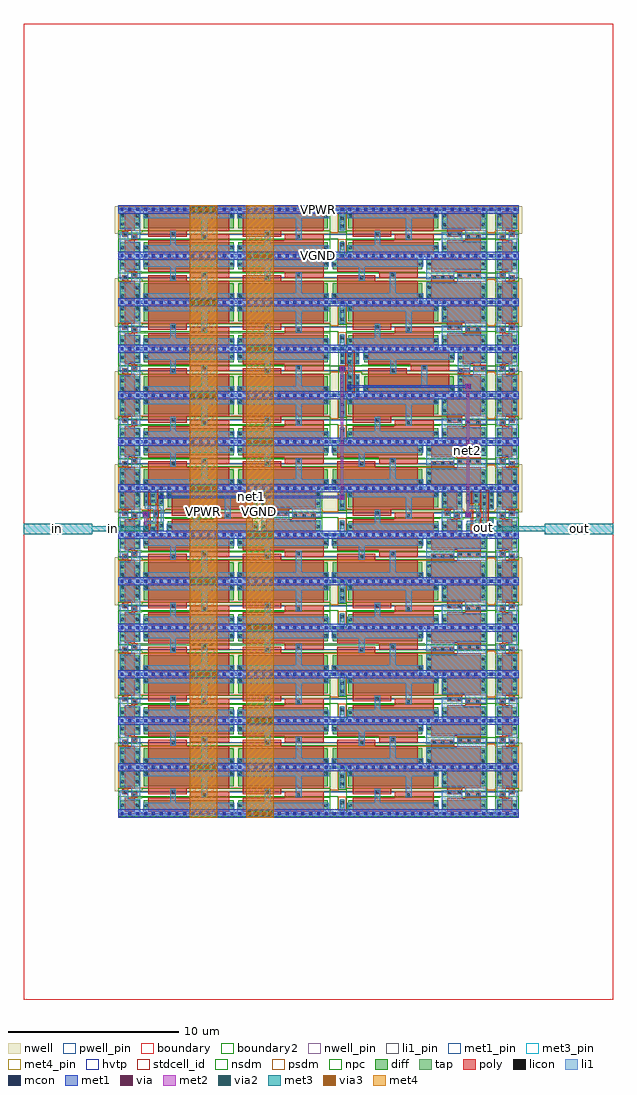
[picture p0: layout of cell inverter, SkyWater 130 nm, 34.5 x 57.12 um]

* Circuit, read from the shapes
.subckt inverter VGND VPWR in net1 net2 out
XM1 VGND VPWR VGND VGND sky130_fd_pr__nfet_01v8 w=0.55 l=0.59 m=27
XM2 VGND VPWR VGND VGND sky130_fd_pr__nfet_01v8 w=0.55 l=4.73 m=38
XM3 VGND in n1 VGND sky130_fd_pr__nfet_01v8 w=0.52 l=0.15
XM4 net1 n1 VGND VGND sky130_fd_pr__nfet_01v8 w=0.52 l=0.15
XM5 VGND VPWR VGND VGND sky130_fd_pr__nfet_01v8 w=0.55 l=2.89 m=6
XM6 net2 net1 VGND VGND sky130_fd_pr__nfet_01v8 w=0.65 l=0.15 m=2
XM7 VGND VPWR VGND VGND sky130_fd_pr__nfet_01v8 w=0.55 l=1.97 m=6
XM8 VGND VPWR VGND VGND sky130_fd_pr__nfet_01v8 w=0.55 l=1.05
XM9 VGND net2 n2 VGND sky130_fd_pr__nfet_01v8 w=0.42 l=0.15
XM10 out n2 VGND VGND sky130_fd_pr__nfet_01v8 w=0.65 l=0.15 m=2
XM11 VPWR VGND VPWR VPWR sky130_fd_pr__pfet_01v8_hvt w=0.87 l=0.59 m=27
XM12 VPWR VGND VPWR VPWR sky130_fd_pr__pfet_01v8_hvt w=0.87 l=4.73 m=38
XM13 VPWR in n1 VPWR sky130_fd_pr__pfet_01v8_hvt w=0.79 l=0.15
XM14 net1 n1 VPWR VPWR sky130_fd_pr__pfet_01v8_hvt w=0.79 l=0.15
XM15 VPWR VGND VPWR VPWR sky130_fd_pr__pfet_01v8_hvt w=0.87 l=2.89 m=6
XM16 net2 net1 VPWR VPWR sky130_fd_pr__pfet_01v8_hvt w=1 l=0.15 m=2
XM17 VPWR VGND VPWR VPWR sky130_fd_pr__pfet_01v8_hvt w=0.87 l=1.97 m=6
XM18 VPWR VGND VPWR VPWR sky130_fd_pr__pfet_01v8_hvt w=0.87 l=1.05
XM19 VPWR net2 n2 VPWR sky130_fd_pr__pfet_01v8_hvt w=0.64 l=0.15
XM20 out n2 VPWR VPWR sky130_fd_pr__pfet_01v8_hvt w=1 l=0.15 m=2
.ends

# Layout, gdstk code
from math import pi, radians
import gdstk
lib = gdstk.Library(unit=1e-6, precision=1e-09)
def R(c, l, rs):  # rectangles x0, y0, x1, y1
    for r in rs: c.add(gdstk.rectangle(r[:2], r[2:], *l))
def A(c, l, x, y, w, h, nx, ny, dx, dy):  # array of equal rectangles
    R(c, l, [(x+i*dx, y+j*dy, x+i*dx+w, y+j*dy+h) for i in range(nx) for j in range(ny)])
def P(c, l, *ps):  # polygons
    for p in ps: c.add(gdstk.Polygon(p, *l))
nwell_pin = (64, 16)
nwell = (64, 20)
diff = (65, 20)
tap = (65, 44)
poly = (66, 20)
licon = (66, 44)
li1_pin = (67, 16)
li1 = (67, 20)
mcon = (67, 44)
met1_pin = (68, 16)
met1 = (68, 20)
via = (68, 44)
met2 = (69, 20)
via2 = (69, 44)
met3_pin = (70, 16)
met3 = (70, 20)
via3 = (70, 44)
met4_pin = (71, 16)
met4 = (71, 20)
hvtp = (78, 44)
stdcell_id = (81, 4)
nsdm = (93, 44)
psdm = (94, 20)
npc = (95, 20)
pwell_pin = (122, 16)
boundary = (235, 4)
boundary2 = (236, 0)

sky130_ef_sc_hd__decap_1 = lib.new_cell('sky130_ef_sc_hd__decap_12')
R(sky130_ef_sc_hd__decap_1, nwell_pin, [(0.145,2.635,0.315,2.805)])
R(sky130_ef_sc_hd__decap_1, nwell, [(-0.19,1.305,5.71,2.91)])
R(sky130_ef_sc_hd__decap_1, diff, [(0.135,0.235,5.385,0.785), (0.135,1.615,5.385,2.485)])
P(sky130_ef_sc_hd__decap_1, poly, [(5.125,2.615),(0.395,2.615),(0.395,1.125),(2.645,1.125),(2.645,1.485),(5.125,1.485)],
  [(5.125,1.275),(2.855,1.275),(2.855,0.915),(0.395,0.915),(0.395,0.105),(5.125,0.105)])
R(sky130_ef_sc_hd__decap_1, licon, [(0.175,0.39,0.345,0.56), (5.175,0.39,5.345,0.56), (3.575,1.025,3.745,1.195), (1.755,1.205,1.925,1.375), (0.175,2.255,0.345,2.425), (5.175,2.255,5.345,2.425)])
R(sky130_ef_sc_hd__decap_1, li1, [(0,-0.085,5.52,0.085), (0.085,0.085,5.43,0.63), (1.67,0.63,2.01,1.46), (3.49,0.95,3.84,2.2), (0.085,2.2,5.43,2.635), (0,2.635,5.52,2.805)])
A(sky130_ef_sc_hd__decap_1, mcon, 0.145, -0.085, 0.17, 0.17, 12, 2, 0.46, 2.72)
R(sky130_ef_sc_hd__decap_1, met1_pin, [(0.145,-0.085,0.315,0.085), (0.145,2.635,0.315,2.805)])
R(sky130_ef_sc_hd__decap_1, hvtp, [(0,1.25,5.52,2.72)])
R(sky130_ef_sc_hd__decap_1, stdcell_id, [(0,0,5.52,2.72)])
R(sky130_ef_sc_hd__decap_1, nsdm, [(0,-0.19,5.52,1.015)])
R(sky130_ef_sc_hd__decap_1, psdm, [(0,1.485,5.52,2.91)])
R(sky130_ef_sc_hd__decap_1, npc, [(0,0.925,5.52,1.475)])
R(sky130_ef_sc_hd__decap_1, pwell_pin, [(0.145,-0.085,0.315,0.085)])
R(sky130_ef_sc_hd__decap_1, boundary2, [(0,0,5.52,2.72)])
sky130_ef_sc_hd__decap_1.add(gdstk.FlexPath([(0,2.72),(5.52,2.72)], 0.48, ends="flush", simple_path=True, layer=68, datatype=20))  # met1
sky130_ef_sc_hd__decap_1.add(gdstk.FlexPath([(0,0),(5.52,0)], 0.48, ends="flush", simple_path=True, layer=68, datatype=20))  # met1
sky130_ef_sc_hd__decap_1.add(gdstk.Label('VGND', (0.23,0), layer=68, texttype=5))
sky130_ef_sc_hd__decap_1.add(gdstk.Label('VPWR', (0.23,2.72), layer=68, texttype=5))
sky130_ef_sc_hd__decap_1.add(gdstk.Label('VPB', (0.23,2.72), layer=64, texttype=5))
sky130_ef_sc_hd__decap_1.add(gdstk.Label('VNB', (0.23,0), layer=64, texttype=59))
sky130_ef_sc_hd__decap_1.add(gdstk.Label('decap_12', (0,0), layer=83, texttype=44))

sky130_fd_sc_hd__decap_3 = lib.new_cell('sky130_fd_sc_hd__decap_3')
R(sky130_fd_sc_hd__decap_3, nwell_pin, [(0.145,2.635,0.315,2.805)])
R(sky130_fd_sc_hd__decap_3, nwell, [(-0.19,1.305,1.57,2.91)])
R(sky130_fd_sc_hd__decap_3, diff, [(0.135,0.235,1.245,0.785), (0.135,1.615,1.245,2.485)])
P(sky130_fd_sc_hd__decap_3, poly, [(1.125,1.255),(0.795,1.255),(0.795,0.915),(0.395,0.915),(0.395,0.105),(0.985,0.105),(0.985,0.925),(1.125,0.925)],
  [(0.985,2.615),(0.395,2.615),(0.395,1.455),(0.255,1.455),(0.255,1.125),(0.585,1.125),(0.585,1.465),(0.985,1.465)])
R(sky130_fd_sc_hd__decap_3, licon, [(0.175,0.4,0.345,0.57), (1.035,0.4,1.205,0.57), (0.875,1.005,1.045,1.175), (0.335,1.205,0.505,1.375), (0.175,1.78,0.345,1.95), (1.035,1.78,1.205,1.95), (0.175,2.255,0.345,2.425), (1.035,2.255,1.205,2.425)])
P(sky130_fd_sc_hd__decap_3, li1, [(1.38,2.805),(0,2.805),(0,2.635),(0.085,2.635),(0.085,1.545),(0.775,1.545),(0.775,1.005),(1.295,1.005),(1.295,2.635),(1.38,2.635)],
  [(1.38,0.085),(1.295,0.085),(1.295,0.835),(0.605,0.835),(0.605,1.375),(0.085,1.375),(0.085,0.085),(0,0.085),(0,-0.085),(1.38,-0.085)])
A(sky130_fd_sc_hd__decap_3, mcon, 0.145, -0.085, 0.17, 0.17, 3, 2, 0.46, 2.72)
R(sky130_fd_sc_hd__decap_3, met1_pin, [(0.145,-0.085,0.315,0.085), (0.145,2.635,0.315,2.805)])
R(sky130_fd_sc_hd__decap_3, hvtp, [(0,1.25,1.38,2.72)])
R(sky130_fd_sc_hd__decap_3, stdcell_id, [(0,0,1.38,2.72)])
R(sky130_fd_sc_hd__decap_3, nsdm, [(0,-0.19,1.38,1.015)])
R(sky130_fd_sc_hd__decap_3, psdm, [(0,1.485,1.38,2.91)])
P(sky130_fd_sc_hd__decap_3, npc, [(1.38,1.345),(0.605,1.345),(0.605,1.475),(0,1.475),(0,0.975),(0.775,0.975),(0.775,0.905),(1.38,0.905)])
R(sky130_fd_sc_hd__decap_3, pwell_pin, [(0.145,-0.085,0.315,0.085)])
R(sky130_fd_sc_hd__decap_3, boundary2, [(0,0,1.38,2.72)])
sky130_fd_sc_hd__decap_3.add(gdstk.FlexPath([(0,2.72),(1.38,2.72)], 0.48, ends="flush", simple_path=True, layer=68, datatype=20))  # met1
sky130_fd_sc_hd__decap_3.add(gdstk.FlexPath([(0,0),(1.38,0)], 0.48, ends="flush", simple_path=True, layer=68, datatype=20))  # met1
sky130_fd_sc_hd__decap_3.add(gdstk.Label('VPWR', (0.23,2.72), layer=68, texttype=5))
sky130_fd_sc_hd__decap_3.add(gdstk.Label('VGND', (0.23,0), layer=68, texttype=5))
sky130_fd_sc_hd__decap_3.add(gdstk.Label('VPB', (0.23,2.72), layer=64, texttype=5))
sky130_fd_sc_hd__decap_3.add(gdstk.Label('VNB', (0.23,0), layer=64, texttype=59))
sky130_fd_sc_hd__decap_3.add(gdstk.Label('decap_3', (0,0), layer=83, texttype=44))

sky130_fd_sc_hd__fill_1 = lib.new_cell('sky130_fd_sc_hd__fill_1')
R(sky130_fd_sc_hd__fill_1, nwell_pin, [(0.155,2.67,0.255,2.755)])
R(sky130_fd_sc_hd__fill_1, nwell, [(-0.19,1.305,0.65,2.91)])
R(sky130_fd_sc_hd__fill_1, mcon, [(0.145,-0.085,0.315,0.085), (0.145,2.635,0.315,2.805)])
R(sky130_fd_sc_hd__fill_1, met1_pin, [(0.11,-0.065,0.29,0.08), (0.11,2.635,0.29,2.785)])
R(sky130_fd_sc_hd__fill_1, hvtp, [(0,1.25,0.46,2.72)])
R(sky130_fd_sc_hd__fill_1, stdcell_id, [(0,0,0.46,2.72)])
R(sky130_fd_sc_hd__fill_1, nsdm, [(0,-0.19,0.46,1.015)])
R(sky130_fd_sc_hd__fill_1, psdm, [(0,1.355,0.46,2.91)])
R(sky130_fd_sc_hd__fill_1, pwell_pin, [(0.14,-0.055,0.26,0.055)])
sky130_fd_sc_hd__fill_1.add(gdstk.FlexPath([(0,0),(0.46,0)], 0.17, ends="flush", simple_path=True, layer=67, datatype=20))  # li1
sky130_fd_sc_hd__fill_1.add(gdstk.FlexPath([(0,2.72),(0.46,2.72)], 0.17, ends="flush", simple_path=True, layer=67, datatype=20))  # li1
sky130_fd_sc_hd__fill_1.add(gdstk.FlexPath([(0,2.72),(0.46,2.72)], 0.48, ends="flush", simple_path=True, layer=68, datatype=20))  # met1
sky130_fd_sc_hd__fill_1.add(gdstk.FlexPath([(0,0),(0.46,0)], 0.48, ends="flush", simple_path=True, layer=68, datatype=20))  # met1
sky130_fd_sc_hd__fill_1.add(gdstk.Label('VPWR', (0.205,2.72), layer=68, texttype=5))
sky130_fd_sc_hd__fill_1.add(gdstk.Label('VGND', (0.205,0), layer=68, texttype=5))
sky130_fd_sc_hd__fill_1.add(gdstk.Label('VPB', (0.23,2.72), layer=64, texttype=5))
sky130_fd_sc_hd__fill_1.add(gdstk.Label('VNB', (0.23,0), layer=64, texttype=59))
sky130_fd_sc_hd__fill_1.add(gdstk.Label('fill_1', (0,0), layer=83, texttype=44))

sky130_fd_sc_hd__tapvpwr = lib.new_cell('sky130_fd_sc_hd__tapvpwrvgnd_1')
R(sky130_fd_sc_hd__tapvpwr, nwell, [(-0.19,1.305,0.65,2.91)])
R(sky130_fd_sc_hd__tapvpwr, tap, [(0.145,0.32,0.315,0.845), (0.145,1.525,0.315,2.4)])
R(sky130_fd_sc_hd__tapvpwr, licon, [(0.145,0.555,0.315,0.725), (0.145,1.645,0.315,1.815), (0.145,2.11,0.315,2.28)])
R(sky130_fd_sc_hd__tapvpwr, li1, [(0,-0.085,0.46,0.085), (0.085,0,0.375,0.81), (0.085,1.47,0.375,2.72), (0,2.635,0.46,2.805)])
R(sky130_fd_sc_hd__tapvpwr, mcon, [(0.145,-0.085,0.315,0.085), (0.145,2.635,0.315,2.805)])
R(sky130_fd_sc_hd__tapvpwr, met1_pin, [(0.105,-0.09,0.36,0.1), (0.11,2.62,0.375,2.765)])
R(sky130_fd_sc_hd__tapvpwr, met1, [(0,-0.24,0.46,0.24), (0,2.48,0.46,2.96)])
R(sky130_fd_sc_hd__tapvpwr, hvtp, [(0,1.25,0.46,2.72)])
R(sky130_fd_sc_hd__tapvpwr, stdcell_id, [(0,0,0.46,2.72)])
R(sky130_fd_sc_hd__tapvpwr, nsdm, [(0,-0.19,0.46,0.19), (0,1.395,0.46,2.53)])
R(sky130_fd_sc_hd__tapvpwr, psdm, [(0,0.19,0.46,0.975), (0,2.53,0.46,2.91)])
sky130_fd_sc_hd__tapvpwr.add(gdstk.Label('VPWR', (0.23,2.72), layer=68, texttype=5))
sky130_fd_sc_hd__tapvpwr.add(gdstk.Label('VGND', (0.23,0), layer=68, texttype=5))
sky130_fd_sc_hd__tapvpwr.add(gdstk.Label('tapvpwrvgnd_1', (0,0), layer=83, texttype=44))

sky130_fd_sc_hd__decap_6 = lib.new_cell('sky130_fd_sc_hd__decap_6')
R(sky130_fd_sc_hd__decap_6, nwell_pin, [(0.145,2.635,0.315,2.805)])
R(sky130_fd_sc_hd__decap_6, nwell, [(-0.19,1.305,2.95,2.91)])
R(sky130_fd_sc_hd__decap_6, diff, [(0.135,0.235,2.625,0.785), (0.135,1.615,2.625,2.485)])
P(sky130_fd_sc_hd__decap_6, poly, [(2.365,2.615),(0.395,2.615),(0.395,1.125),(1.275,1.125),(1.275,1.485),(2.365,1.485)],
  [(2.365,1.275),(1.485,1.275),(1.485,0.915),(0.395,0.915),(0.395,0.105),(2.365,0.105)])
R(sky130_fd_sc_hd__decap_6, licon, [(0.175,0.39,0.345,0.56), (2.415,0.39,2.585,0.56), (1.565,1.025,1.735,1.195), (2.115,1.025,2.285,1.195), (0.475,1.205,0.645,1.375), (1.025,1.205,1.195,1.375), (0.175,1.745,0.345,1.915), (2.415,1.745,2.585,1.915), (0.175,2.255,0.345,2.425), (2.415,2.255,2.585,2.425)])
P(sky130_fd_sc_hd__decap_6, li1, [(2.76,0.085),(2.675,0.085),(2.675,0.855),(1.295,0.855),(1.295,1.375),(0.085,1.375),(0.085,0.085),(0,0.085),(0,-0.085),(2.76,-0.085)],
  [(2.76,2.805),(0,2.805),(0,2.635),(0.085,2.635),(0.085,1.545),(1.465,1.545),(1.465,1.025),(2.675,1.025),(2.675,2.635),(2.76,2.635)])
A(sky130_fd_sc_hd__decap_6, mcon, 0.145, -0.085, 0.17, 0.17, 6, 2, 0.46, 2.72)
R(sky130_fd_sc_hd__decap_6, met1_pin, [(0.145,-0.085,0.315,0.085), (0.145,2.635,0.315,2.805)])
R(sky130_fd_sc_hd__decap_6, hvtp, [(0,1.25,2.76,2.72)])
R(sky130_fd_sc_hd__decap_6, stdcell_id, [(0,0,2.76,2.72)])
R(sky130_fd_sc_hd__decap_6, nsdm, [(0,-0.19,2.76,1.015)])
R(sky130_fd_sc_hd__decap_6, psdm, [(0,1.485,2.76,2.91)])
P(sky130_fd_sc_hd__decap_6, npc, [(2.76,1.345),(1.295,1.345),(1.295,1.475),(0,1.475),(0,0.975),(1.465,0.975),(1.465,0.925),(2.76,0.925)])
R(sky130_fd_sc_hd__decap_6, pwell_pin, [(0.145,-0.085,0.315,0.085)])
R(sky130_fd_sc_hd__decap_6, boundary2, [(0,0,2.76,2.72)])
sky130_fd_sc_hd__decap_6.add(gdstk.FlexPath([(0,2.72),(2.76,2.72)], 0.48, ends="flush", simple_path=True, layer=68, datatype=20))  # met1
sky130_fd_sc_hd__decap_6.add(gdstk.FlexPath([(0,0),(2.76,0)], 0.48, ends="flush", simple_path=True, layer=68, datatype=20))  # met1
sky130_fd_sc_hd__decap_6.add(gdstk.Label('VPWR', (0.23,2.72), layer=68, texttype=5))
sky130_fd_sc_hd__decap_6.add(gdstk.Label('VGND', (0.23,0), layer=68, texttype=5))
sky130_fd_sc_hd__decap_6.add(gdstk.Label('VPB', (0.23,2.72), layer=64, texttype=5))
sky130_fd_sc_hd__decap_6.add(gdstk.Label('VNB', (0.23,0), layer=64, texttype=59))
sky130_fd_sc_hd__decap_6.add(gdstk.Label('decap_6', (0,0), layer=83, texttype=44))

sky130_fd_sc_hd__decap_8 = lib.new_cell('sky130_fd_sc_hd__decap_8')
R(sky130_fd_sc_hd__decap_8, nwell_pin, [(0.145,2.635,0.315,2.805)])
R(sky130_fd_sc_hd__decap_8, nwell, [(-0.19,1.305,3.87,2.91)])
R(sky130_fd_sc_hd__decap_8, diff, [(0.135,0.235,3.545,0.785), (0.135,1.615,3.545,2.485)])
P(sky130_fd_sc_hd__decap_8, poly, [(3.285,2.615),(0.395,2.615),(0.395,1.125),(1.715,1.125),(1.715,1.485),(3.285,1.485)],
  [(3.285,1.275),(1.925,1.275),(1.925,0.915),(0.395,0.915),(0.395,0.105),(3.285,0.105)])
A(sky130_fd_sc_hd__decap_8, licon, 2.005, 1.025, 0.17, 0.17, 3, 1, 0.515, 0)
A(sky130_fd_sc_hd__decap_8, licon, 0.475, 1.205, 0.17, 0.17, 3, 1, 0.495, 0)
R(sky130_fd_sc_hd__decap_8, licon, [(0.175,0.39,0.345,0.56), (3.335,0.39,3.505,0.56), (0.175,1.745,0.345,1.915), (3.335,1.745,3.505,1.915), (0.175,2.255,0.345,2.425), (3.335,2.255,3.505,2.425)])
P(sky130_fd_sc_hd__decap_8, li1, [(3.68,0.085),(3.595,0.085),(3.595,0.855),(1.735,0.855),(1.735,1.375),(0.085,1.375),(0.085,0.085),(0,0.085),(0,-0.085),(3.68,-0.085)],
  [(3.68,2.805),(0,2.805),(0,2.635),(0.085,2.635),(0.085,1.545),(1.905,1.545),(1.905,1.025),(3.595,1.025),(3.595,2.635),(3.68,2.635)])
A(sky130_fd_sc_hd__decap_8, mcon, 0.145, -0.085, 0.17, 0.17, 8, 2, 0.46, 2.72)
R(sky130_fd_sc_hd__decap_8, met1_pin, [(0.145,-0.085,0.315,0.085), (0.145,2.635,0.315,2.805)])
R(sky130_fd_sc_hd__decap_8, hvtp, [(0,1.25,3.68,2.72)])
R(sky130_fd_sc_hd__decap_8, stdcell_id, [(0,0,3.68,2.72)])
R(sky130_fd_sc_hd__decap_8, nsdm, [(0,-0.19,3.68,1.015)])
R(sky130_fd_sc_hd__decap_8, psdm, [(0,1.485,3.68,2.91)])
P(sky130_fd_sc_hd__decap_8, npc, [(3.68,1.345),(1.735,1.345),(1.735,1.475),(0,1.475),(0,0.975),(1.905,0.975),(1.905,0.925),(3.68,0.925)])
R(sky130_fd_sc_hd__decap_8, pwell_pin, [(0.145,-0.085,0.315,0.085)])
R(sky130_fd_sc_hd__decap_8, boundary2, [(0,0,3.68,2.72)])
sky130_fd_sc_hd__decap_8.add(gdstk.FlexPath([(0,2.72),(3.68,2.72)], 0.48, ends="flush", simple_path=True, layer=68, datatype=20))  # met1
sky130_fd_sc_hd__decap_8.add(gdstk.FlexPath([(0,0),(3.68,0)], 0.48, ends="flush", simple_path=True, layer=68, datatype=20))  # met1
sky130_fd_sc_hd__decap_8.add(gdstk.Label('VPWR', (0.23,2.72), layer=68, texttype=5))
sky130_fd_sc_hd__decap_8.add(gdstk.Label('VGND', (0.23,0), layer=68, texttype=5))
sky130_fd_sc_hd__decap_8.add(gdstk.Label('VPB', (0.23,2.72), layer=64, texttype=5))
sky130_fd_sc_hd__decap_8.add(gdstk.Label('VNB', (0.23,0), layer=64, texttype=59))
sky130_fd_sc_hd__decap_8.add(gdstk.Label('decap_8', (0,0), layer=83, texttype=44))

sky130_fd_sc_hd__clkbuf_ = lib.new_cell('sky130_fd_sc_hd__clkbuf_1')
R(sky130_fd_sc_hd__clkbuf_, nwell_pin, [(1.065,2.635,1.235,2.805)])
R(sky130_fd_sc_hd__clkbuf_, nwell, [(-0.19,1.305,1.57,2.91)])
R(sky130_fd_sc_hd__clkbuf_, diff, [(0.135,0.235,1.245,0.755), (0.135,1.695,1.245,2.485)])
P(sky130_fd_sc_hd__clkbuf_, poly, [(0.375,1.39),(0.395,1.39),(0.395,2.615),(0.545,2.615),(0.545,1.39),(0.645,1.39),(0.645,1.06),(0.545,1.06),(0.545,0.105),(0.395,0.105),(0.395,1.06),(0.375,1.06)],
  [(1.245,1.325),(1.015,1.325),(1.015,1.62),(0.985,1.62),(0.985,2.615),(0.835,2.615),(0.835,1.5),(0.865,1.5),(0.865,0.95),(0.835,0.95),(0.835,0.105),(0.985,0.105),(0.985,0.83),(1.015,0.83),(1.015,0.995),(1.245,0.995)])
A(sky130_fd_sc_hd__clkbuf_, licon, 0.175, 2.215, 0.17, 0.17, 3, 1, 0.43, 0)
R(sky130_fd_sc_hd__clkbuf_, licon, [(0.605,0.295,0.775,0.465), (1.035,0.36,1.205,0.53), (0.175,0.445,0.345,0.615), (1.025,1.075,1.195,1.245), (0.425,1.14,0.595,1.31), (0.175,1.81,0.345,1.98), (0.605,1.875,0.775,2.045), (1.035,1.875,1.205,2.045)])
R(sky130_fd_sc_hd__clkbuf_, li1_pin, [(0.145,0.425,0.315,0.595), (1.065,1.105,1.235,1.275), (0.145,1.785,0.315,1.955), (0.145,2.125,0.315,2.295)])
R(sky130_fd_sc_hd__clkbuf_, li1, [(0.945,0.985,1.275,1.355)])
P(sky130_fd_sc_hd__clkbuf_, li1, [(0.085,2.465),(0.355,2.465),(0.355,1.56),(0.255,1.56),(0.255,0.76),(0.345,0.76),(0.345,0.255),(0.085,0.255)],
  [(0,0.085),(0.525,0.085),(0.525,0.465),(0.855,0.465),(0.855,0.085),(1.38,0.085),(1.38,-0.085),(0,-0.085)],
  [(0.425,1.39),(0.54,1.39),(0.54,1.705),(1.035,1.705),(1.035,2.465),(1.205,2.465),(1.205,1.535),(0.71,1.535),(0.71,0.805),(1.205,0.805),(1.205,0.255),(1.035,0.255),(1.035,0.635),(0.54,0.635),(0.54,1.06),(0.425,1.06)],
  [(0,2.805),(1.38,2.805),(1.38,2.635),(0.855,2.635),(0.855,1.875),(0.525,1.875),(0.525,2.635),(0,2.635)])
A(sky130_fd_sc_hd__clkbuf_, mcon, 0.145, -0.085, 0.17, 0.17, 3, 2, 0.46, 2.72)
R(sky130_fd_sc_hd__clkbuf_, met1_pin, [(1.065,-0.085,1.235,0.085), (1.065,2.635,1.235,2.805)])
R(sky130_fd_sc_hd__clkbuf_, hvtp, [(0,1.25,1.38,2.72)])
R(sky130_fd_sc_hd__clkbuf_, stdcell_id, [(0,0,1.38,2.72)])
R(sky130_fd_sc_hd__clkbuf_, nsdm, [(0,-0.19,1.38,1.015)])
R(sky130_fd_sc_hd__clkbuf_, psdm, [(0,1.42,1.38,2.91)])
R(sky130_fd_sc_hd__clkbuf_, npc, [(0,0.975,1.38,1.41)])
R(sky130_fd_sc_hd__clkbuf_, pwell_pin, [(1.065,-0.085,1.235,0.085)])
R(sky130_fd_sc_hd__clkbuf_, boundary2, [(0,0,1.38,2.72)])
sky130_fd_sc_hd__clkbuf_.add(gdstk.FlexPath([(1.38,0),(0,0)], 0.48, ends="flush", simple_path=True, layer=68, datatype=20))  # met1
sky130_fd_sc_hd__clkbuf_.add(gdstk.FlexPath([(1.38,2.72),(0,2.72)], 0.48, ends="flush", simple_path=True, layer=68, datatype=20))  # met1
sky130_fd_sc_hd__clkbuf_.add(gdstk.Label('VGND', (1.15,0), layer=68, texttype=5))
sky130_fd_sc_hd__clkbuf_.add(gdstk.Label('VPWR', (1.15,2.72), layer=68, texttype=5))
sky130_fd_sc_hd__clkbuf_.add(gdstk.Label('X', (0.23,0.51), layer=67, texttype=5))
sky130_fd_sc_hd__clkbuf_.add(gdstk.Label('X', (0.23,1.87), layer=67, texttype=5))
sky130_fd_sc_hd__clkbuf_.add(gdstk.Label('X', (0.23,2.21), layer=67, texttype=5))
sky130_fd_sc_hd__clkbuf_.add(gdstk.Label('A', (1.15,1.19), layer=67, texttype=5))
sky130_fd_sc_hd__clkbuf_.add(gdstk.Label('VPB', (1.15,2.72), layer=64, texttype=5))
sky130_fd_sc_hd__clkbuf_.add(gdstk.Label('VNB', (1.15,0), layer=64, texttype=59))
sky130_fd_sc_hd__clkbuf_.add(gdstk.Label('clkbuf_1', (0,0), layer=83, texttype=44))

sky130_fd_sc_hd__fill_2 = lib.new_cell('sky130_fd_sc_hd__fill_2')
R(sky130_fd_sc_hd__fill_2, nwell_pin, [(0.14,2.675,0.31,2.765)])
R(sky130_fd_sc_hd__fill_2, nwell, [(-0.19,1.305,1.11,2.91)])
R(sky130_fd_sc_hd__fill_2, mcon, [(0.145,-0.085,0.315,0.085), (0.605,-0.085,0.775,0.085), (0.145,2.635,0.315,2.805), (0.605,2.635,0.775,2.805)])
R(sky130_fd_sc_hd__fill_2, met1_pin, [(0.1,-0.07,0.365,0.09), (0.105,2.65,0.365,2.805)])
R(sky130_fd_sc_hd__fill_2, hvtp, [(0,1.25,0.92,2.72)])
R(sky130_fd_sc_hd__fill_2, stdcell_id, [(0,0,0.92,2.72)])
R(sky130_fd_sc_hd__fill_2, nsdm, [(0,-0.19,0.92,1.015)])
R(sky130_fd_sc_hd__fill_2, psdm, [(0,1.355,0.92,2.91)])
R(sky130_fd_sc_hd__fill_2, pwell_pin, [(0.155,-0.05,0.315,0.06)])
sky130_fd_sc_hd__fill_2.add(gdstk.FlexPath([(0,0),(0.92,0)], 0.17, ends="flush", simple_path=True, layer=67, datatype=20))  # li1
sky130_fd_sc_hd__fill_2.add(gdstk.FlexPath([(0,2.72),(0.92,2.72)], 0.17, ends="flush", simple_path=True, layer=67, datatype=20))  # li1
sky130_fd_sc_hd__fill_2.add(gdstk.FlexPath([(0,2.72),(0.92,2.72)], 0.48, ends="flush", simple_path=True, layer=68, datatype=20))  # met1
sky130_fd_sc_hd__fill_2.add(gdstk.FlexPath([(0,0),(0.92,0)], 0.48, ends="flush", simple_path=True, layer=68, datatype=20))  # met1
sky130_fd_sc_hd__fill_2.add(gdstk.Label('VGND', (0.23,0), layer=68, texttype=5))
sky130_fd_sc_hd__fill_2.add(gdstk.Label('VPWR', (0.23,2.72), layer=68, texttype=5))
sky130_fd_sc_hd__fill_2.add(gdstk.Label('VPB', (0.23,2.72), layer=64, texttype=5))
sky130_fd_sc_hd__fill_2.add(gdstk.Label('VNB', (0.23,0), layer=64, texttype=59))
sky130_fd_sc_hd__fill_2.add(gdstk.Label('fill_2', (0,0), layer=83, texttype=44))

sky130_fd_sc_hd__buf_2 = lib.new_cell('sky130_fd_sc_hd__buf_2')
R(sky130_fd_sc_hd__buf_2, nwell_pin, [(0.145,2.635,0.315,2.805)])
R(sky130_fd_sc_hd__buf_2, nwell, [(-0.19,1.305,2.03,2.91)])
P(sky130_fd_sc_hd__buf_2, diff, [(1.705,2.485),(0.62,2.485),(0.62,2.445),(0.135,2.445),(0.135,1.805),(0.62,1.805),(0.62,1.485),(1.705,1.485)],
  [(1.705,0.885),(0.62,0.885),(0.62,0.655),(0.135,0.655),(0.135,0.235),(1.705,0.235)])
P(sky130_fd_sc_hd__buf_2, poly, [(1.44,2.615),(1.29,2.615),(1.29,1.325),(1.02,1.325),(1.02,2.615),(0.87,2.615),(0.87,1.325),(0.755,1.325),(0.755,0.995),(0.87,0.995),(0.87,0.105),(1.02,0.105),(1.02,0.995),(1.29,0.995),(1.29,0.105),(1.44,0.105)],
  [(0.545,2.575),(0.395,2.575),(0.395,1.325),(0.135,1.325),(0.135,0.995),(0.395,0.995),(0.395,0.105),(0.545,0.105)])
A(sky130_fd_sc_hd__buf_2, licon, 1.49, 1.575, 0.17, 0.17, 1, 3, 0, 0.34)
R(sky130_fd_sc_hd__buf_2, licon, [(0.64,0.295,0.81,0.465), (1.49,0.315,1.66,0.485), (0.175,0.36,0.345,0.53), (1.07,0.445,1.24,0.615), (1.49,0.655,1.66,0.825), (0.185,1.075,0.355,1.245), (0.805,1.075,0.975,1.245), (1.07,1.73,1.24,1.9), (0.175,1.875,0.345,2.045), (0.64,1.875,0.81,2.045), (1.07,2.135,1.24,2.305), (0.175,2.215,0.345,2.385), (0.64,2.215,0.81,2.385)])
R(sky130_fd_sc_hd__buf_2, li1_pin, [(0.145,-0.085,0.315,0.085), (1.06,0.425,1.23,0.595), (0.145,1.105,0.315,1.275), (1.06,1.785,1.23,1.955), (1.06,2.125,1.23,2.295), (0.145,2.635,0.315,2.805)])
R(sky130_fd_sc_hd__buf_2, li1, [(0.085,0.985,0.44,1.355)])
P(sky130_fd_sc_hd__buf_2, li1, [(0.975,1.325),(0.89,1.325),(0.89,1.705),(0.345,1.705),(0.345,2.465),(0.175,2.465),(0.175,1.535),(0.72,1.535),(0.72,0.805),(0.175,0.805),(0.175,0.255),(0.345,0.255),(0.345,0.635),(0.89,0.635),(0.89,0.995),(0.975,0.995)],
  [(1.315,2.465),(1.06,2.465),(1.06,1.56),(1.145,1.56),(1.145,0.83),(1.06,0.83),(1.06,0.255),(1.315,0.255)],
  [(1.84,2.805),(0,2.805),(0,2.635),(0.56,2.635),(0.56,1.875),(0.89,1.875),(0.89,2.635),(1.49,2.635),(1.49,1.485),(1.75,1.485),(1.75,2.635),(1.84,2.635)],
  [(1.84,0.085),(1.75,0.085),(1.75,0.925),(1.49,0.925),(1.49,0.085),(0.89,0.085),(0.89,0.465),(0.56,0.465),(0.56,0.085),(0,0.085),(0,-0.085),(1.84,-0.085)])
A(sky130_fd_sc_hd__buf_2, mcon, 0.145, -0.085, 0.17, 0.17, 4, 2, 0.46, 2.72)
R(sky130_fd_sc_hd__buf_2, met1_pin, [(0.145,-0.085,0.315,0.085), (0.145,2.635,0.315,2.805)])
R(sky130_fd_sc_hd__buf_2, hvtp, [(0,1.25,1.84,2.72)])
R(sky130_fd_sc_hd__buf_2, stdcell_id, [(0,0,1.84,2.72)])
R(sky130_fd_sc_hd__buf_2, nsdm, [(0,-0.19,1.84,1.015)])
R(sky130_fd_sc_hd__buf_2, psdm, [(0,1.355,1.84,2.91)])
R(sky130_fd_sc_hd__buf_2, npc, [(0,0.975,1.84,1.345)])
R(sky130_fd_sc_hd__buf_2, pwell_pin, [(0.145,-0.085,0.315,0.085)])
R(sky130_fd_sc_hd__buf_2, boundary2, [(0,0,1.84,2.72)])
sky130_fd_sc_hd__buf_2.add(gdstk.FlexPath([(0,0),(1.84,0)], 0.48, ends="flush", simple_path=True, layer=68, datatype=20))  # met1
sky130_fd_sc_hd__buf_2.add(gdstk.FlexPath([(0,2.72),(1.84,2.72)], 0.48, ends="flush", simple_path=True, layer=68, datatype=20))  # met1
sky130_fd_sc_hd__buf_2.add(gdstk.Label('VPWR', (0.23,2.72), layer=68, texttype=5))
sky130_fd_sc_hd__buf_2.add(gdstk.Label('VGND', (0.23,0), layer=68, texttype=5))
sky130_fd_sc_hd__buf_2.add(gdstk.Label('VPWR', (0.23,2.72), layer=67, texttype=5))
sky130_fd_sc_hd__buf_2.add(gdstk.Label('VGND', (0.23,0), layer=67, texttype=5))
sky130_fd_sc_hd__buf_2.add(gdstk.Label('X', (1.145,0.51), layer=67, texttype=5))
sky130_fd_sc_hd__buf_2.add(gdstk.Label('X', (1.145,1.87), layer=67, texttype=5))
sky130_fd_sc_hd__buf_2.add(gdstk.Label('X', (1.145,2.21), layer=67, texttype=5))
sky130_fd_sc_hd__buf_2.add(gdstk.Label('A', (0.23,1.19), layer=67, texttype=5))
sky130_fd_sc_hd__buf_2.add(gdstk.Label('VPB', (0.23,2.72), layer=64, texttype=5))
sky130_fd_sc_hd__buf_2.add(gdstk.Label('VNB', (0.23,0), layer=64, texttype=59))
sky130_fd_sc_hd__buf_2.add(gdstk.Label('buf_2', (0,0), layer=83, texttype=44))

sky130_fd_sc_hd__inv_2 = lib.new_cell('sky130_fd_sc_hd__inv_2')
R(sky130_fd_sc_hd__inv_2, nwell_pin, [(0.145,2.635,0.315,2.805)])
R(sky130_fd_sc_hd__inv_2, nwell, [(-0.19,1.305,1.57,2.91)])
R(sky130_fd_sc_hd__inv_2, diff, [(0.145,0.235,1.235,0.885), (0.145,1.485,1.235,2.485)])
P(sky130_fd_sc_hd__inv_2, poly, [(0.975,2.615),(0.825,2.615),(0.825,1.325),(0.555,1.325),(0.555,2.615),(0.405,2.615),(0.405,1.325),(0.105,1.325),(0.105,0.995),(0.405,0.995),(0.405,0.105),(0.555,0.105),(0.555,0.995),(0.825,0.995),(0.825,0.105),(0.975,0.105)])
A(sky130_fd_sc_hd__inv_2, licon, 0.185, 0.295, 0.17, 0.17, 3, 2, 0.42, 0.36)
A(sky130_fd_sc_hd__inv_2, licon, 0.185, 1.575, 0.17, 0.17, 3, 3, 0.42, 0.34)
R(sky130_fd_sc_hd__inv_2, licon, [(0.185,1.075,0.355,1.245)])
A(sky130_fd_sc_hd__inv_2, li1_pin, 0.605, 0.765, 0.17, 0.17, 1, 3, 0, 0.34)
R(sky130_fd_sc_hd__inv_2, li1_pin, [(0.145,1.105,0.315,1.275)])
R(sky130_fd_sc_hd__inv_2, li1, [(0.105,1.075,0.435,1.325)])
P(sky130_fd_sc_hd__inv_2, li1, [(1.38,2.805),(0,2.805),(0,2.635),(0.125,2.635),(0.125,1.495),(0.355,1.495),(0.355,2.635),(1.025,2.635),(1.025,1.495),(1.235,1.495),(1.235,2.635),(1.38,2.635)],
  [(0.855,2.465),(0.525,2.465),(0.525,1.485),(0.605,1.485),(0.605,0.885),(0.525,0.885),(0.525,0.255),(0.855,0.255)],
  [(1.38,0.085),(1.235,0.085),(1.235,0.905),(1.025,0.905),(1.025,0.085),(0.355,0.085),(0.355,0.905),(0.125,0.905),(0.125,0.085),(0,0.085),(0,-0.085),(1.38,-0.085)])
A(sky130_fd_sc_hd__inv_2, mcon, 0.145, -0.085, 0.17, 0.17, 3, 2, 0.46, 2.72)
R(sky130_fd_sc_hd__inv_2, met1_pin, [(0.145,-0.085,0.315,0.085), (0.145,2.635,0.315,2.805)])
R(sky130_fd_sc_hd__inv_2, hvtp, [(0,1.25,1.38,2.72)])
R(sky130_fd_sc_hd__inv_2, stdcell_id, [(0,0,1.38,2.72)])
R(sky130_fd_sc_hd__inv_2, nsdm, [(0,-0.19,1.38,1.015)])
R(sky130_fd_sc_hd__inv_2, psdm, [(0,1.355,1.38,2.91)])
R(sky130_fd_sc_hd__inv_2, npc, [(0,0.975,1.38,1.345)])
R(sky130_fd_sc_hd__inv_2, pwell_pin, [(0.145,-0.085,0.315,0.085)])
R(sky130_fd_sc_hd__inv_2, boundary2, [(0,0,1.38,2.72)])
sky130_fd_sc_hd__inv_2.add(gdstk.FlexPath([(0,2.72),(1.38,2.72)], 0.48, ends="flush", simple_path=True, layer=68, datatype=20))  # met1
sky130_fd_sc_hd__inv_2.add(gdstk.FlexPath([(0,0),(1.38,0)], 0.48, ends="flush", simple_path=True, layer=68, datatype=20))  # met1
sky130_fd_sc_hd__inv_2.add(gdstk.Label('A', (0.23,1.19), layer=67, texttype=5))
sky130_fd_sc_hd__inv_2.add(gdstk.Label('Y', (0.69,0.85), layer=67, texttype=5))
sky130_fd_sc_hd__inv_2.add(gdstk.Label('Y', (0.69,1.53), layer=67, texttype=5))
sky130_fd_sc_hd__inv_2.add(gdstk.Label('Y', (0.69,1.19), layer=67, texttype=5))
sky130_fd_sc_hd__inv_2.add(gdstk.Label('VPB', (0.23,2.72), layer=64, texttype=5))
sky130_fd_sc_hd__inv_2.add(gdstk.Label('VNB', (0.23,0), layer=64, texttype=59))
sky130_fd_sc_hd__inv_2.add(gdstk.Label('VPWR', (0.23,2.72), layer=68, texttype=5))
sky130_fd_sc_hd__inv_2.add(gdstk.Label('VGND', (0.23,0), layer=68, texttype=5))
sky130_fd_sc_hd__inv_2.add(gdstk.Label('inv_2', (0,0), layer=83, texttype=44))

sky130_fd_sc_hd__decap_4 = lib.new_cell('sky130_fd_sc_hd__decap_4')
R(sky130_fd_sc_hd__decap_4, nwell_pin, [(0.145,2.635,0.315,2.805)])
R(sky130_fd_sc_hd__decap_4, nwell, [(-0.19,1.305,2.03,2.91)])
R(sky130_fd_sc_hd__decap_4, diff, [(0.135,0.235,1.705,0.785), (0.135,1.615,1.705,2.485)])
P(sky130_fd_sc_hd__decap_4, poly, [(1.445,2.615),(0.395,2.615),(0.395,1.455),(0.105,1.455),(0.105,1.125),(0.815,1.125),(0.815,1.485),(1.445,1.485)],
  [(1.735,1.275),(1.025,1.275),(1.025,0.915),(0.395,0.915),(0.395,0.105),(1.445,0.105),(1.445,0.945),(1.735,0.945)])
R(sky130_fd_sc_hd__decap_4, licon, [(0.175,0.425,0.345,0.595), (1.495,0.425,1.665,0.595), (1.485,1.025,1.655,1.195), (0.185,1.205,0.355,1.375), (0.175,1.745,0.345,1.915), (1.495,1.745,1.665,1.915), (0.175,2.255,0.345,2.425), (1.495,2.255,1.665,2.425)])
P(sky130_fd_sc_hd__decap_4, li1, [(1.84,2.805),(0,2.805),(0,2.635),(0.085,2.635),(0.085,1.545),(1.005,1.545),(1.005,1.025),(1.755,1.025),(1.755,2.635),(1.84,2.635)],
  [(1.84,0.085),(1.755,0.085),(1.755,0.855),(0.835,0.855),(0.835,1.375),(0.085,1.375),(0.085,0.085),(0,0.085),(0,-0.085),(1.84,-0.085)])
A(sky130_fd_sc_hd__decap_4, mcon, 0.145, -0.085, 0.17, 0.17, 4, 2, 0.46, 2.72)
R(sky130_fd_sc_hd__decap_4, met1_pin, [(0.145,-0.085,0.315,0.085), (0.145,2.635,0.315,2.805)])
R(sky130_fd_sc_hd__decap_4, hvtp, [(0,1.25,1.84,2.72)])
R(sky130_fd_sc_hd__decap_4, stdcell_id, [(0,0,1.84,2.72)])
R(sky130_fd_sc_hd__decap_4, nsdm, [(0,-0.19,1.84,1.015)])
R(sky130_fd_sc_hd__decap_4, psdm, [(0,1.485,1.84,2.91)])
P(sky130_fd_sc_hd__decap_4, npc, [(1.84,1.345),(0.455,1.345),(0.455,1.475),(0,1.475),(0,0.975),(1.385,0.975),(1.385,0.925),(1.84,0.925)])
R(sky130_fd_sc_hd__decap_4, pwell_pin, [(0.145,-0.085,0.315,0.085)])
R(sky130_fd_sc_hd__decap_4, boundary2, [(0,0,1.84,2.72)])
sky130_fd_sc_hd__decap_4.add(gdstk.FlexPath([(0,2.72),(1.84,2.72)], 0.48, ends="flush", simple_path=True, layer=68, datatype=20))  # met1
sky130_fd_sc_hd__decap_4.add(gdstk.FlexPath([(0,0),(1.84,0)], 0.48, ends="flush", simple_path=True, layer=68, datatype=20))  # met1
sky130_fd_sc_hd__decap_4.add(gdstk.Label('VGND', (0.23,0), layer=68, texttype=5))
sky130_fd_sc_hd__decap_4.add(gdstk.Label('VPWR', (0.23,2.72), layer=68, texttype=5))
sky130_fd_sc_hd__decap_4.add(gdstk.Label('VPB', (0.23,2.72), layer=64, texttype=5))
sky130_fd_sc_hd__decap_4.add(gdstk.Label('VNB', (0.23,0), layer=64, texttype=59))
sky130_fd_sc_hd__decap_4.add(gdstk.Label('decap_4', (0,0), layer=83, texttype=44))

inverter = lib.new_cell('inverter')
R(inverter, li1, [(26.825,27.625,26.995,27.795), (7.045,28.305,7.215,28.475), (25.905,28.305,26.075,28.475), (7.965,29.325,8.135,29.495), (19.005,35.785,19.175,35.955), (18.545,36.805,18.715,36.975)])
R(inverter, mcon, [(26.825,27.625,26.995,27.795), (7.045,28.305,7.215,28.475), (25.905,28.305,26.075,28.475), (7.965,29.325,8.135,29.495), (19.005,35.785,19.175,35.955), (18.545,36.805,18.715,36.975)])
A(inverter, met1, 5.52, 10.64, 23.46, 0.48, 1, 14, 0, 2.72)
R(inverter, met1, [(26.75,27.58,27.07,27.84), (6.97,28.26,7.29,28.52), (25.83,28.26,26.15,28.52), (18.47,29.28,18.79,29.34), (7.905,29.295,8.195,29.34), (7.905,29.34,18.79,29.48), (7.905,29.48,8.195,29.525), (18.47,29.48,18.79,29.54), (25.83,35.74,26.15,35.8), (18.945,35.755,19.235,35.8), (18.945,35.8,26.15,35.94), (18.945,35.94,19.235,35.985), (25.83,35.94,26.15,36), (18.47,36.76,18.79,37.02)])
A(inverter, via, 13.105, 10.805, 0.15, 0.15, 5, 7, 0.32, 5.44)
A(inverter, via, 9.805, 13.525, 0.15, 0.15, 5, 7, 0.32, 5.44)
R(inverter, via, [(26.835,27.635,26.985,27.785), (7.055,28.315,7.205,28.465), (25.915,28.315,26.065,28.465), (18.555,29.335,18.705,29.485), (25.915,35.795,26.065,35.945), (18.555,36.815,18.705,36.965)])
A(inverter, met2, 13.05, 10.695, 1.54, 0.37, 1, 7, 0, 5.44)
A(inverter, met2, 9.75, 13.415, 1.54, 0.37, 1, 7, 0, 5.44)
R(inverter, met2, [(6.99,27.355,7.27,27.725), (26.77,27.355,27.05,27.725), (7.06,27.725,7.2,28.23), (26.78,27.725,27.04,27.87), (7,28.23,7.26,28.55), (25.86,28.23,26.12,28.55), (25.92,28.55,26.06,35.71), (18.5,29.25,18.76,29.57), (18.56,29.57,18.7,36.73), (25.86,35.71,26.12,36.03), (18.5,36.73,18.76,37.05)])
A(inverter, via2, 13.12, 10.78, 0.2, 0.2, 4, 7, 0.4, 5.44)
A(inverter, via2, 9.82, 13.5, 0.2, 0.2, 4, 7, 0.4, 5.44)
R(inverter, via2, [(7.03,27.44,7.23,27.64), (26.81,27.44,27.01,27.64)])
R(inverter, met3_pin, [(0,27.24,4,27.84), (30.5,27.24,34.5,27.84)])
A(inverter, met3, 13.03, 10.715, 1.58, 0.33, 1, 7, 0, 5.44)
A(inverter, met3, 9.73, 13.435, 1.58, 0.33, 1, 7, 0, 5.44)
R(inverter, met3, [(0,27.24,4,27.39), (30.5,27.24,34.5,27.39), (6.965,27.375,7.295,27.39), (26.745,27.375,27.075,27.39), (0,27.39,7.295,27.69), (26.745,27.39,34.5,27.69), (0,27.69,4,27.84), (6.965,27.69,7.295,27.705), (26.745,27.69,27.075,27.705), (30.5,27.69,34.5,27.84)])
A(inverter, via3, 13.12, 10.78, 0.2, 0.2, 4, 7, 0.4, 5.44)
A(inverter, via3, 9.82, 13.5, 0.2, 0.2, 4, 7, 0.4, 5.44)
R(inverter, met4_pin, [(9.72,10.64,11.32,46.48), (13.02,10.64,14.62,46.48)])
R(inverter, met4, [(9.72,10.64,11.32,46.48), (13.02,10.64,14.62,46.48)])
R(inverter, boundary, [(0,0,34.5,57.12)])
inverter.add(gdstk.Reference(sky130_ef_sc_hd__decap_1, (6.9,10.88)))
inverter.add(gdstk.Reference(sky130_ef_sc_hd__decap_1, (6.9,16.32), x_reflection=True))
inverter.add(gdstk.Reference(sky130_fd_sc_hd__decap_3, (5.52,10.88)))
inverter.add(gdstk.Reference(sky130_fd_sc_hd__decap_3, (5.52,16.32), x_reflection=True))
inverter.add(gdstk.Reference(sky130_ef_sc_hd__decap_1, (12.42,10.88)))
inverter.add(gdstk.Reference(sky130_ef_sc_hd__decap_1, (12.42,16.32), x_reflection=True))
inverter.add(gdstk.Reference(sky130_fd_sc_hd__fill_1, (17.94,10.88)))
inverter.add(gdstk.Reference(sky130_ef_sc_hd__decap_1, (18.86,10.88)))
inverter.add(gdstk.Reference(sky130_ef_sc_hd__decap_1, (17.94,16.32), x_reflection=True))
inverter.add(gdstk.Reference(sky130_fd_sc_hd__tapvpwr, (18.4,10.88)))
inverter.add(gdstk.Reference(sky130_fd_sc_hd__decap_6, (24.38,10.88)))
inverter.add(gdstk.Reference(sky130_fd_sc_hd__fill_1, (27.14,10.88)))
inverter.add(gdstk.Reference(sky130_fd_sc_hd__decap_8, (23.46,16.32), x_reflection=True))
inverter.add(gdstk.Reference(sky130_fd_sc_hd__fill_1, (27.14,16.32), x_reflection=True))
inverter.add(gdstk.Reference(sky130_fd_sc_hd__decap_3, (28.98,10.88), rotation=pi, x_reflection=True))
inverter.add(gdstk.Reference(sky130_fd_sc_hd__decap_3, (28.98,16.32), rotation=pi))
inverter.add(gdstk.Reference(sky130_ef_sc_hd__decap_1, (6.9,16.32)))
inverter.add(gdstk.Reference(sky130_fd_sc_hd__decap_3, (5.52,16.32)))
inverter.add(gdstk.Reference(sky130_ef_sc_hd__decap_1, (12.42,16.32)))
inverter.add(gdstk.Reference(sky130_fd_sc_hd__fill_1, (17.94,16.32)))
inverter.add(gdstk.Reference(sky130_ef_sc_hd__decap_1, (18.86,16.32)))
inverter.add(gdstk.Reference(sky130_fd_sc_hd__tapvpwr, (18.4,16.32)))
inverter.add(gdstk.Reference(sky130_fd_sc_hd__decap_6, (24.38,16.32)))
inverter.add(gdstk.Reference(sky130_fd_sc_hd__fill_1, (27.14,16.32)))
inverter.add(gdstk.Reference(sky130_fd_sc_hd__decap_3, (28.98,16.32), rotation=pi, x_reflection=True))
inverter.add(gdstk.Reference(sky130_ef_sc_hd__decap_1, (6.9,21.76), x_reflection=True))
inverter.add(gdstk.Reference(sky130_fd_sc_hd__decap_3, (5.52,21.76), x_reflection=True))
inverter.add(gdstk.Reference(sky130_ef_sc_hd__decap_1, (12.42,21.76), x_reflection=True))
inverter.add(gdstk.Reference(sky130_ef_sc_hd__decap_1, (17.94,21.76), x_reflection=True))
inverter.add(gdstk.Reference(sky130_fd_sc_hd__decap_8, (23.46,21.76), x_reflection=True))
inverter.add(gdstk.Reference(sky130_fd_sc_hd__fill_1, (27.14,21.76), x_reflection=True))
inverter.add(gdstk.Reference(sky130_fd_sc_hd__decap_3, (28.98,21.76), rotation=pi))
inverter.add(gdstk.Reference(sky130_ef_sc_hd__decap_1, (6.9,21.76)))
inverter.add(gdstk.Reference(sky130_fd_sc_hd__decap_3, (5.52,21.76)))
inverter.add(gdstk.Reference(sky130_ef_sc_hd__decap_1, (12.42,21.76)))
inverter.add(gdstk.Reference(sky130_fd_sc_hd__fill_1, (17.94,21.76)))
inverter.add(gdstk.Reference(sky130_ef_sc_hd__decap_1, (18.86,21.76)))
inverter.add(gdstk.Reference(sky130_fd_sc_hd__tapvpwr, (18.4,21.76)))
inverter.add(gdstk.Reference(sky130_fd_sc_hd__decap_6, (24.38,21.76)))
inverter.add(gdstk.Reference(sky130_fd_sc_hd__fill_1, (27.14,21.76)))
inverter.add(gdstk.Reference(sky130_fd_sc_hd__decap_3, (28.98,21.76), rotation=pi, x_reflection=True))
inverter.add(gdstk.Reference(sky130_ef_sc_hd__decap_1, (6.9,27.2), x_reflection=True))
inverter.add(gdstk.Reference(sky130_fd_sc_hd__decap_3, (5.52,27.2), x_reflection=True))
inverter.add(gdstk.Reference(sky130_ef_sc_hd__decap_1, (12.42,27.2), x_reflection=True))
inverter.add(gdstk.Reference(sky130_ef_sc_hd__decap_1, (17.94,27.2), x_reflection=True))
inverter.add(gdstk.Reference(sky130_fd_sc_hd__decap_8, (23.46,27.2), x_reflection=True))
inverter.add(gdstk.Reference(sky130_fd_sc_hd__fill_1, (27.14,27.2), x_reflection=True))
inverter.add(gdstk.Reference(sky130_fd_sc_hd__decap_3, (28.98,27.2), rotation=pi))
inverter.add(gdstk.Reference(sky130_ef_sc_hd__decap_1, (8.28,27.2)))
inverter.add(gdstk.Reference(sky130_ef_sc_hd__decap_1, (6.9,32.64), x_reflection=True))
inverter.add(gdstk.Reference(sky130_fd_sc_hd__decap_3, (5.52,27.2)))
inverter.add(gdstk.Reference(sky130_fd_sc_hd__decap_3, (5.52,32.64), x_reflection=True))
inverter.add(gdstk.Reference(sky130_fd_sc_hd__clkbuf_, (8.28,27.2), rotation=pi, x_reflection=True))
inverter.add(gdstk.Reference(sky130_fd_sc_hd__decap_8, (13.8,27.2)))
inverter.add(gdstk.Reference(sky130_ef_sc_hd__decap_1, (12.42,32.64), x_reflection=True))
inverter.add(gdstk.Reference(sky130_fd_sc_hd__fill_2, (17.48,27.2)))
inverter.add(gdstk.Reference(sky130_ef_sc_hd__decap_1, (18.86,27.2)))
inverter.add(gdstk.Reference(sky130_ef_sc_hd__decap_1, (17.94,32.64), x_reflection=True))
inverter.add(gdstk.Reference(sky130_fd_sc_hd__tapvpwr, (18.4,27.2)))
inverter.add(gdstk.Reference(sky130_fd_sc_hd__decap_3, (24.38,27.2)))
inverter.add(gdstk.Reference(sky130_fd_sc_hd__decap_8, (23.46,32.64), x_reflection=True))
inverter.add(gdstk.Reference(sky130_fd_sc_hd__fill_1, (27.14,32.64), x_reflection=True))
inverter.add(gdstk.Reference(sky130_fd_sc_hd__decap_3, (28.98,27.2), rotation=pi, x_reflection=True))
inverter.add(gdstk.Reference(sky130_fd_sc_hd__decap_3, (28.98,32.64), rotation=pi))
inverter.add(gdstk.Reference(sky130_fd_sc_hd__buf_2, (25.76,27.2)))
inverter.add(gdstk.Reference(sky130_ef_sc_hd__decap_1, (6.9,32.64)))
inverter.add(gdstk.Reference(sky130_fd_sc_hd__decap_3, (5.52,32.64)))
inverter.add(gdstk.Reference(sky130_ef_sc_hd__decap_1, (12.42,32.64)))
inverter.add(gdstk.Reference(sky130_fd_sc_hd__fill_1, (17.94,32.64)))
inverter.add(gdstk.Reference(sky130_ef_sc_hd__decap_1, (18.86,32.64)))
inverter.add(gdstk.Reference(sky130_fd_sc_hd__tapvpwr, (18.4,32.64)))
inverter.add(gdstk.Reference(sky130_fd_sc_hd__decap_6, (24.38,32.64)))
inverter.add(gdstk.Reference(sky130_fd_sc_hd__fill_1, (27.14,32.64)))
inverter.add(gdstk.Reference(sky130_fd_sc_hd__decap_3, (28.98,32.64), rotation=pi, x_reflection=True))
inverter.add(gdstk.Reference(sky130_ef_sc_hd__decap_1, (6.9,38.08), x_reflection=True))
inverter.add(gdstk.Reference(sky130_fd_sc_hd__decap_3, (5.52,38.08), x_reflection=True))
inverter.add(gdstk.Reference(sky130_ef_sc_hd__decap_1, (12.42,38.08), x_reflection=True))
inverter.add(gdstk.Reference(sky130_fd_sc_hd__fill_1, (17.94,38.08), x_reflection=True))
inverter.add(gdstk.Reference(sky130_ef_sc_hd__decap_1, (19.78,38.08), x_reflection=True))
inverter.add(gdstk.Reference(sky130_fd_sc_hd__inv_2, (18.4,38.08), x_reflection=True))
inverter.add(gdstk.Reference(sky130_fd_sc_hd__decap_4, (25.3,38.08), x_reflection=True))
inverter.add(gdstk.Reference(sky130_fd_sc_hd__fill_1, (27.14,38.08), x_reflection=True))
inverter.add(gdstk.Reference(sky130_fd_sc_hd__decap_3, (28.98,38.08), rotation=pi))
inverter.add(gdstk.Reference(sky130_ef_sc_hd__decap_1, (6.9,38.08)))
inverter.add(gdstk.Reference(sky130_fd_sc_hd__decap_3, (5.52,38.08)))
inverter.add(gdstk.Reference(sky130_ef_sc_hd__decap_1, (12.42,38.08)))
inverter.add(gdstk.Reference(sky130_fd_sc_hd__fill_1, (17.94,38.08)))
inverter.add(gdstk.Reference(sky130_ef_sc_hd__decap_1, (18.86,38.08)))
inverter.add(gdstk.Reference(sky130_fd_sc_hd__tapvpwr, (18.4,38.08)))
inverter.add(gdstk.Reference(sky130_fd_sc_hd__decap_6, (24.38,38.08)))
inverter.add(gdstk.Reference(sky130_fd_sc_hd__fill_1, (27.14,38.08)))
inverter.add(gdstk.Reference(sky130_fd_sc_hd__decap_3, (28.98,38.08), rotation=pi, x_reflection=True))
inverter.add(gdstk.Reference(sky130_ef_sc_hd__decap_1, (6.9,43.52), x_reflection=True))
inverter.add(gdstk.Reference(sky130_fd_sc_hd__decap_3, (5.52,43.52), x_reflection=True))
inverter.add(gdstk.Reference(sky130_ef_sc_hd__decap_1, (12.42,43.52), x_reflection=True))
inverter.add(gdstk.Reference(sky130_ef_sc_hd__decap_1, (17.94,43.52), x_reflection=True))
inverter.add(gdstk.Reference(sky130_fd_sc_hd__decap_8, (23.46,43.52), x_reflection=True))
inverter.add(gdstk.Reference(sky130_fd_sc_hd__fill_1, (27.14,43.52), x_reflection=True))
inverter.add(gdstk.Reference(sky130_fd_sc_hd__decap_3, (28.98,43.52), rotation=pi))
inverter.add(gdstk.Reference(sky130_ef_sc_hd__decap_1, (6.9,43.52)))
inverter.add(gdstk.Reference(sky130_fd_sc_hd__decap_3, (5.52,43.52)))
inverter.add(gdstk.Reference(sky130_ef_sc_hd__decap_1, (12.42,43.52)))
inverter.add(gdstk.Reference(sky130_fd_sc_hd__fill_1, (17.94,43.52)))
inverter.add(gdstk.Reference(sky130_ef_sc_hd__decap_1, (18.86,43.52)))
inverter.add(gdstk.Reference(sky130_fd_sc_hd__tapvpwr, (18.4,43.52)))
inverter.add(gdstk.Reference(sky130_fd_sc_hd__decap_6, (24.38,43.52)))
inverter.add(gdstk.Reference(sky130_fd_sc_hd__fill_1, (27.14,43.52)))
inverter.add(gdstk.Reference(sky130_fd_sc_hd__decap_3, (28.98,43.52), rotation=pi, x_reflection=True))
inverter.add(gdstk.Label('VGND', (17.25,43.52), layer=68, texttype=5))
inverter.add(gdstk.Label('VPWR', (17.25,46.24), layer=68, texttype=5))
inverter.add(gdstk.Label('in', (5.25,27.54), layer=70, texttype=5))
inverter.add(gdstk.Label('net1', (13.34,29.41), layer=68, texttype=5))
inverter.add(gdstk.Label('net2', (25.99,32.13), layer=69, texttype=5))
inverter.add(gdstk.Label('out', (26.91,27.625), layer=70, texttype=5))
inverter.add(gdstk.Label('VGND', (13.82,28.56), layer=71, texttype=5))
inverter.add(gdstk.Label('VPWR', (10.52,28.56), layer=71, texttype=5))
inverter.add(gdstk.Label('in', (2,27.54), layer=70, texttype=5))
inverter.add(gdstk.Label('out', (32.5,27.54), layer=70, texttype=5))

lib.write_gds('inverter.gds')
